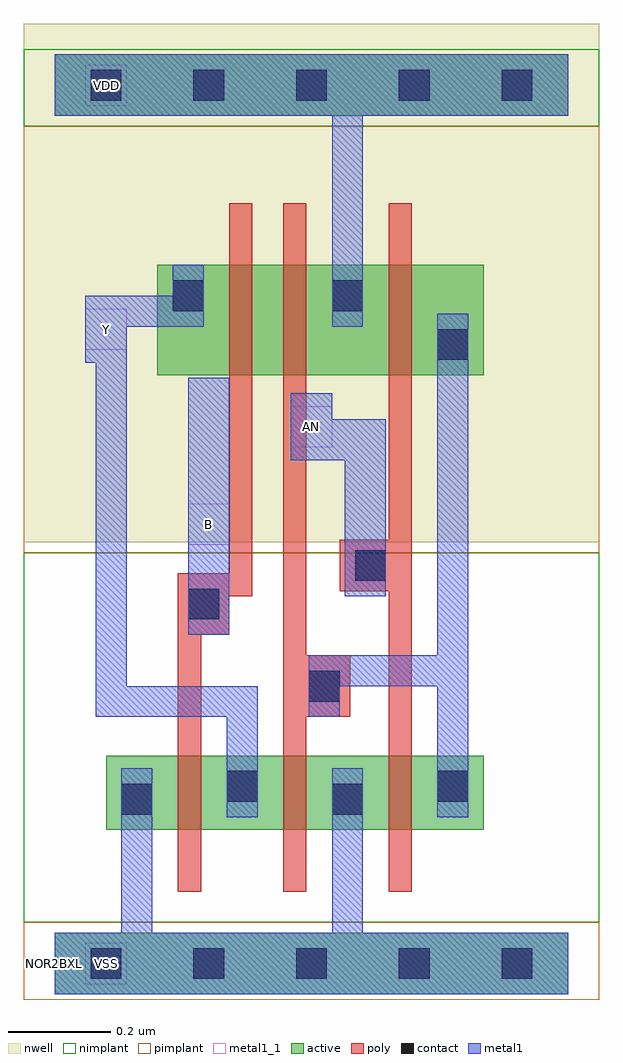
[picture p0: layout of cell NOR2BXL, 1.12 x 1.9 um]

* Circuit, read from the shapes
.subckt NOR2BXL AN B VDD VSS Y
M1 Y B VSS VSS nfet w=0.145u l=0.045u
M2 VSS n1 Y VSS nfet w=0.145u l=0.045u
M3 n1 AN VSS VSS nfet w=0.145u l=0.045u
M4 n2 B Y VDD pfet w=0.215u l=0.045u
M5 VDD n1 n2 VDD pfet w=0.215u l=0.045u
M6 n1 AN VDD VDD pfet w=0.215u l=0.045u
.ends

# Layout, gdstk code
import gdstk
lib = gdstk.Library(unit=1e-6, precision=5e-10)
def R(c, l, rs):  # rectangles x0, y0, x1, y1
    for r in rs: c.add(gdstk.rectangle(r[:2], r[2:], *l))
def A(c, l, x, y, w, h, nx, ny, dx, dy):  # array of equal rectangles
    R(c, l, [(x+i*dx, y+j*dy, x+i*dx+w, y+j*dy+h) for i in range(nx) for j in range(ny)])
def P(c, l, *ps):  # polygons
    for p in ps: c.add(gdstk.Polygon(p, *l))
active = (1, 0)
nwell = (2, 0)
poly = (3, 0)
nimplant = (4, 0)
pimplant = (5, 0)
contact = (6, 0)
metal1 = (7, 0)
metal1_1 = (7, 1)

nor2bxl = lib.new_cell('NOR2BXL')
R(nor2bxl, active, [(0,-0.06,1,0.06), (0.1,0.26,0.835,0.405), (0.2,1.145,0.835,1.36), (0,1.65,1,1.77)])
R(nor2bxl, nwell, [(-0.06,0.82,1.06,1.83)])
P(nor2bxl, poly, [(0.34,1.48),(0.385,1.48),(0.385,0.715),(0.34,0.715),(0.34,0.64),(0.285,0.64),(0.285,0.14),(0.24,0.14),(0.24,0.76),(0.34,0.76)],
  [(0.445,1.48),(0.49,1.48),(0.49,0.6),(0.575,0.6),(0.575,0.48),(0.49,0.48),(0.49,0.14),(0.445,0.14)],
  [(0.65,1.48),(0.695,1.48),(0.695,0.14),(0.65,0.14),(0.65,0.725),(0.555,0.725),(0.555,0.825),(0.65,0.825)])
R(nor2bxl, nimplant, [(-0.06,0.08,1.06,0.8), (-0.06,1.63,1.06,1.78)])
R(nor2bxl, pimplant, [(-0.06,-0.07,1.06,0.08), (-0.06,0.8,1.06,1.63)])
A(nor2bxl, contact, 0.07, -0.03, 0.06, 0.06, 5, 2, 0.2, 1.71)
R(nor2bxl, contact, [(0.13,0.29,0.19,0.35), (0.54,0.29,0.6,0.35), (0.335,0.315,0.395,0.375), (0.745,0.315,0.805,0.375), (0.495,0.51,0.555,0.57), (0.26,0.67,0.32,0.73), (0.585,0.745,0.645,0.805), (0.745,1.175,0.805,1.235), (0.23,1.27,0.29,1.33), (0.54,1.27,0.6,1.33)])
R(nor2bxl, metal1, [(0.26,0.64,0.34,1.14)])
P(nor2bxl, metal1, [(0.46,1.11),(0.54,1.11),(0.54,1.06),(0.645,1.06),(0.645,0.715),(0.565,0.715),(0.565,0.98),(0.46,0.98)],
  [(0.13,0.38),(0.19,0.38),(0.19,0.06),(0.54,0.06),(0.54,0.38),(0.6,0.38),(0.6,0.06),(1,0.06),(1,-0.06),(0,-0.06),(0,0.06),(0.13,0.06)],
  [(0,1.77),(1,1.77),(1,1.65),(0.6,1.65),(0.6,1.24),(0.54,1.24),(0.54,1.65),(0,1.65)],
  [(0.23,1.36),(0.29,1.36),(0.29,1.24),(0.14,1.24),(0.14,0.54),(0.395,0.54),(0.395,0.285),(0.335,0.285),(0.335,0.48),(0.08,0.48),(0.08,1.17),(0.06,1.17),(0.06,1.3),(0.23,1.3)],
  [(0.745,1.265),(0.805,1.265),(0.805,0.285),(0.745,0.285),(0.745,0.54),(0.555,0.54),(0.555,0.48),(0.495,0.48),(0.495,0.6),(0.745,0.6)])
R(nor2bxl, metal1_1, [(0.06,-0.04,0.14,0.04), (0.26,0.815,0.34,0.895), (0.46,1.005,0.54,1.085), (0.06,1.195,0.14,1.275), (0.06,1.67,0.14,1.75)])
nor2bxl.add(gdstk.Label('Y', (0.1,1.235), layer=7, texttype=1))
nor2bxl.add(gdstk.Label('AN', (0.5,1.045), layer=7, texttype=1))
nor2bxl.add(gdstk.Label('B', (0.3,0.855), layer=7, texttype=1))
nor2bxl.add(gdstk.Label('VDD', (0.1,1.71), layer=7, texttype=1))
nor2bxl.add(gdstk.Label('VSS', (0.1,0), layer=7, texttype=1))
nor2bxl.add(gdstk.Label('NOR2BXL', (0,0), layer=63, texttype=0))

lib.write_gds('NOR2BXL.gds')
